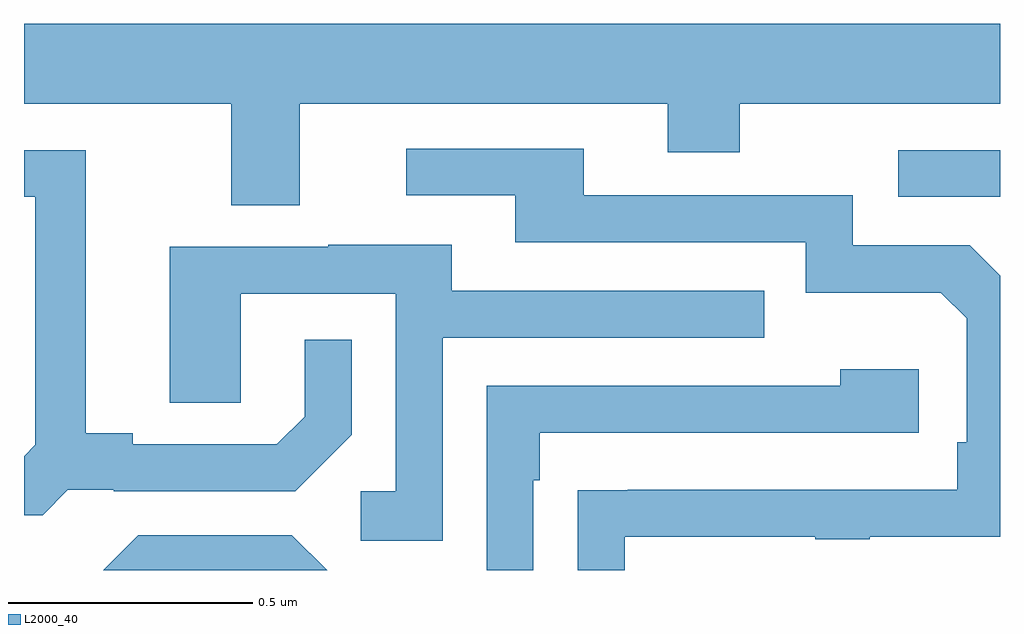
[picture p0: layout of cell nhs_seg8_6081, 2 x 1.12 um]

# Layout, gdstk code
import gdstk
lib = gdstk.Library(unit=1e-6, precision=1e-09)
def R(c, l, rs):  # rectangles x0, y0, x1, y1
    for r in rs: c.add(gdstk.rectangle(r[:2], r[2:], *l))
def P(c, l, *ps):  # polygons
    for p in ps: c.add(gdstk.Polygon(p, *l))
L2000_40 = (2000, 40)

nhs_seg8_6081 = lib.new_cell('nhs_seg8_6081')
R(nhs_seg8_6081, L2000_40, [(193.791,1093.665,194,1093.761)])
P(nhs_seg8_6081, L2000_40, [(192.565,1093.856),(193.319,1093.856),(193.319,1093.757),(193.467,1093.757),(193.467,1093.856),(194,1093.856),(194,1094.02),(192,1094.02),(192,1093.856),(192.425,1093.856),(192.425,1093.648),(192.565,1093.648)],
  [(193.231,1092.969),(193.621,1092.969),(193.621,1092.964),(193.733,1092.964),(193.733,1092.969),(194,1092.969),(194,1093.504),(193.938,1093.566),(193.698,1093.566),(193.698,1093.668),(193.147,1093.668),(193.147,1093.764),(192.783,1093.764),(192.783,1093.668),(193.007,1093.668),(193.007,1093.572),(193.602,1093.572),(193.602,1093.469),(193.879,1093.469),(193.932,1093.416),(193.932,1093.162),(193.912,1093.162),(193.912,1093.065),(193.237,1093.065),(193.237,1093.064),(193.135,1093.064),(193.135,1092.9),(193.231,1092.9)],
  [(192.09,1093.065),(192.184,1093.065),(192.184,1093.062),(192.556,1093.062),(192.672,1093.178),(192.672,1093.372),(192.575,1093.372),(192.575,1093.215),(192.518,1093.158),(192.223,1093.158),(192.223,1093.181),(192.127,1093.181),(192.127,1093.761),(192,1093.761),(192,1093.665),(192.023,1093.665),(192.023,1093.157),(192,1093.134),(192,1093.013),(192.038,1093.013)],
  [(192.858,1093.377),(193.517,1093.377),(193.517,1093.473),(192.877,1093.473),(192.877,1093.567),(192.623,1093.567),(192.623,1093.563),(192.299,1093.563),(192.299,1093.243),(192.444,1093.243),(192.444,1093.467),(192.762,1093.467),(192.762,1093.062),(192.69,1093.062),(192.69,1092.961),(192.858,1092.961)],
  [(193.044,1093.085),(193.057,1093.085),(193.057,1093.182),(193.834,1093.182),(193.834,1093.312),(193.673,1093.312),(193.673,1093.278),(192.948,1093.278),(192.948,1092.9),(193.044,1092.9)],
  [(192.549,1092.972),(192.234,1092.972),(192.162,1092.9),(192.621,1092.9)])

lib.write_gds('nhs_seg8_6081.gds')
